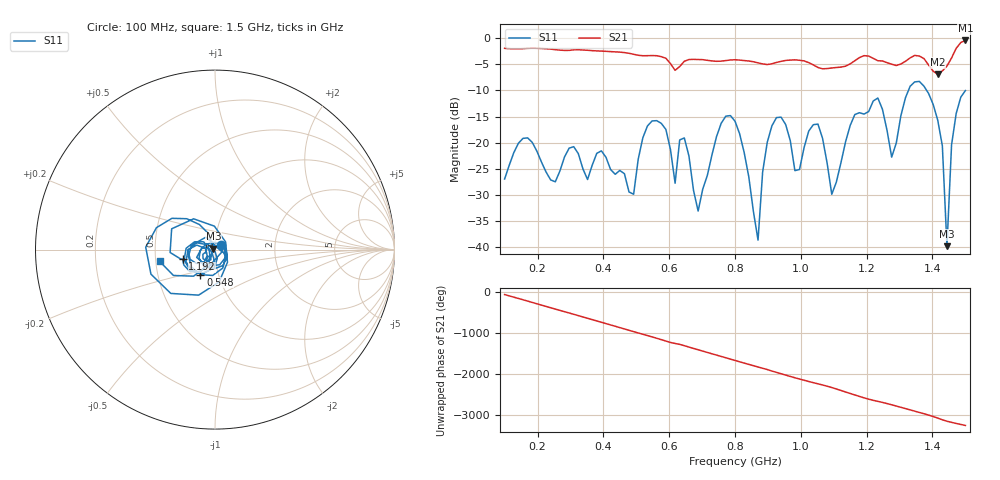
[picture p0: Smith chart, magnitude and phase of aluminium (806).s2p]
! NanoVNA-App
! Date: 2025-09-25 15:01:33
! Start: 100MHz Stop: 1,5GHz Points: 101
! S-Parameter data: F S11 S21 S12 S22
# Hz S RI R 50
!  Frequency  S11_Real  S11_Imag  S21_Real  S21_Imag  S12_Real  S12_Imag  S22_Real  S22_Imag
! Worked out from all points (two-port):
!   101 points, 100 MHz to 1.5 GHz, reference 50 ohm
!   highest |S21| = -0.41 dB at 1.5 GHz (marker M1); lowest = -6.9 dB at 1.416 GHz (marker M2)
!   |S21| within 3 dB of the highest: start of sweep to 567.8 MHz; 1.461 GHz to end of sweep (the widest 2 of 4)
!   lowest |S11| = -39.8 dB at 1.444 GHz (marker M3), VSWR 1.02, Z = 49.1 + j0.445 ohm
!   |S11| at or under -10 dB: start of sweep to 1.327 GHz; 1.382 GHz to end of sweep
!   S12 and S22 are empty: the file has one direction only
!   S11 on the Smith chart (normalised r, x): 100 MHz: 1.07, +0.06; 548 MHz: 0.82, -0.24; 1.192 GHz: 0.69, -0.08; 1.5 GHz: 0.52, -0.08
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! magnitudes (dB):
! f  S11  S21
! 100 MHz  -27.0  -1.9
! 156 MHz  -19.2  -2.0
! 338 MHz  -25.0  -2.2
! 492 MHz  -29.9  -3.1
! 548 MHz  -15.8  -3.3
! 576 MHz  -16.3  -3.5
! 618 MHz  -27.8  -6.1
! 646 MHz  -19.1  -4.4
! 688 MHz  -33.1  -4.1
! 800 MHz  -15.9  -4.1
! 870 MHz  -38.7  -4.7
! 912 MHz  -16.8  -4.9
! 982 MHz  -25.4  -4.1
! 1.038 GHz  -16.6  -5.1
! 1.094 GHz  -29.9  -5.7
! 1.192 GHz  -14.5  -3.3
! 1.276 GHz  -22.8  -5.0
! 1.346 GHz  -8.4  -3.3
! 1.416 GHz  -15.7  -6.9
! 1.444 GHz  -39.8  -5.3
! 1.458 GHz  -20.4  -3.8
! 1.5 GHz  -10.0  -0.4
